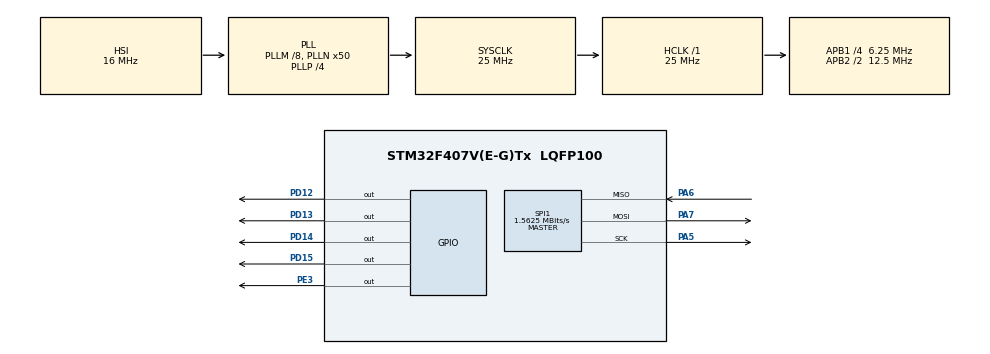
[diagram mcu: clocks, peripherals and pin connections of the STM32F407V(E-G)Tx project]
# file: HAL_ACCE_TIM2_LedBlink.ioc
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Mcu.Family=STM32F4
Mcu.Name=STM32F407V(E-G)Tx
Mcu.Package=LQFP100
NVIC.PriorityGroup=NVIC_PRIORITYGROUP_0
NVIC.TIM2_IRQn=true\:0\:0\:false\:false\:true\:true\:true\:true
PA5.Mode=Full_Duplex_Master
PA5.Signal=SPI1_SCK
PA6.Mode=Full_Duplex_Master
PA6.Signal=SPI1_MISO
PA7.Mode=Full_Duplex_Master
PA7.Signal=SPI1_MOSI
PD12.Signal=GPIO_Output
PD13.Signal=GPIO_Output
PD14.Signal=GPIO_Output
PD15.Signal=GPIO_Output
PE3.Signal=GPIO_Output
ProjectManager.HeapSize=0x200
ProjectManager.StackSize=0x400
ProjectManager.TargetToolchain=STM32CubeIDE
RCC.48MHZClocksFreq_Value=14285714.285714285
RCC.AHBFreq_Value=25000000
RCC.APB1CLKDivider=RCC_HCLK_DIV4
RCC.APB1Freq_Value=6250000
RCC.APB1TimFreq_Value=12500000
RCC.APB2CLKDivider=RCC_HCLK_DIV2
RCC.APB2Freq_Value=12500000
RCC.APB2TimFreq_Value=25000000
RCC.CortexFreq_Value=25000000
RCC.HCLKFreq_Value=25000000
RCC.HSE_VALUE=8000000
RCC.HSI_VALUE=16000000
RCC.LSE_VALUE=32768
RCC.PLLM=8
RCC.PLLN=50
RCC.PLLP=RCC_PLLP_DIV4
RCC.PLLQ=7
RCC.SYSCLKFreq_VALUE=25000000
RCC.SYSCLKSource=RCC_SYSCLKSOURCE_PLLCLK
RCC.VCOOutputFreq_Value=100000000
SPI1.BaudRatePrescaler=SPI_BAUDRATEPRESCALER_8
SPI1.CalculateBaudRate=1.5625 MBits/s
SPI1.Direction=SPI_DIRECTION_2LINES
SPI1.Mode=SPI_MODE_MASTER
SPI1.VirtualType=VM_MASTER
TIM2.Period=999
TIM2.Prescaler=12499
TIM2.TIM_MasterOutputTrigger=TIM_TRGO_UPDATE
VP_TIM2_VS_ClockSourceINT.Mode=Internal
board=STM32F407G-DISC1

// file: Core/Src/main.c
/* USER CODE BEGIN Header */
/**
  ******************************************************************************
  * @file           : main.c
  * @brief          : Main program body
  ******************************************************************************
  * @attention
  *
  * Copyright (c) 2026 STMicroelectronics.
  * All rights reserved.
  *
  * This software is licensed under terms that can be found in the LICENSE file
  * in the root directory of this software component.
  * If no LICENSE file comes with this software, it is provided AS-IS.
  *
  ******************************************************************************
  */
/* USER CODE END Header */
#include "main.h"

/* USER CODE BEGIN Includes */
#include<lis3dsh.h>
#include<math.h>
#include<stdlib.h>

/* USER CODE END Includes */

SPI_HandleTypeDef hspi1;

TIM_HandleTypeDef htim2;

/* USER CODE BEGIN PV */
AccelRead_t val;
/* USER CODE END PV */

void SystemClock_Config(void);
static void MX_GPIO_Init(void);
static void MX_SPI1_Init(void);
static void MX_TIM2_Init(void);

/* USER CODE BEGIN 0 */
void HAL_TIM_PeriodElapsedCallback(TIM_HandleTypeDef *htim)
{
	val = accel_get_xyz();

}
/* USER CODE END 0 */

int main(void)
{

  /* MCU Configuration--------------------------------------------------------*/

  /* Reset of all peripherals, Initializes the Flash interface and the Systick. */
  HAL_Init();

  /* Configure the system clock */
  SystemClock_Config();

  /* Initialize all configured peripherals */
  MX_GPIO_Init();
  MX_SPI1_Init();
  MX_TIM2_Init();
  /* USER CODE BEGIN 2 */
  HAL_TIM_Base_Start_IT(&htim2);
  accel_init();
  /* USER CODE END 2 */

  /* Infinite loop */
  /* USER CODE BEGIN WHILE */
  while (1)
  {
	  //HAL_GPIO_WritePin(GPIOD, GPIO_PIN_12, GPIO_PIN_RESET);
	  //HAL_GPIO_WritePin(GPIOD, GPIO_PIN_13, GPIO_PIN_RESET);

	  //HAL_GPIO_WritePin(GPIOD, GPIO_PIN_15, GPIO_PIN_RESET);
	  if(val.x >= 500)
	  {
		  HAL_GPIO_TogglePin(GPIOD, GPIO_PIN_14);
		  HAL_Delay(409600 / val.x);
	  }
	  else
	  {
		  HAL_GPIO_WritePin(GPIOD, GPIO_PIN_14, GPIO_PIN_RESET);
	  }
	  if(val.x < 500)
	  {
		  uint16_t temp = abs(val.x);
		  HAL_GPIO_TogglePin(GPIOD, GPIO_PIN_12);
		  HAL_Delay(409600 / temp);
	  }
	  else
	  {
		  HAL_GPIO_WritePin(GPIOD, GPIO_PIN_12, GPIO_PIN_RESET);
	  }

	  if(val.y >= 500)
	  {
		  HAL_GPIO_TogglePin(GPIOD, GPIO_PIN_13);
		  HAL_Delay(409600 / val.y);
	  }
	  else
	  {
		  HAL_GPIO_WritePin(GPIOD, GPIO_PIN_13, GPIO_PIN_RESET);
	  }
	  if(val.y < 500)
	  {
		  uint16_t temp = abs(val.y);
		  HAL_GPIO_TogglePin(GPIOD, GPIO_PIN_15);
		  HAL_Delay(409600 / temp);
	  }
	  else
	  {
		  HAL_GPIO_WritePin(GPIOD, GPIO_PIN_15, GPIO_PIN_RESET);
	  }
    /* USER CODE END WHILE */

  }
}

void SystemClock_Config(void)
{
  RCC_OscInitTypeDef RCC_OscInitStruct = {0};
  RCC_ClkInitTypeDef RCC_ClkInitStruct = {0};

  /** Configure the main internal regulator output voltage
  */
  __HAL_RCC_PWR_CLK_ENABLE();
  __HAL_PWR_VOLTAGESCALING_CONFIG(PWR_REGULATOR_VOLTAGE_SCALE1);

  /** Initializes the RCC Oscillators according to the specified parameters
  * in the RCC_OscInitTypeDef structure.
  */
  RCC_OscInitStruct.OscillatorType = RCC_OSCILLATORTYPE_HSI;
  RCC_OscInitStruct.HSIState = RCC_HSI_ON;
  RCC_OscInitStruct.HSICalibrationValue = RCC_HSICALIBRATION_DEFAULT;
  RCC_OscInitStruct.PLL.PLLState = RCC_PLL_ON;
  RCC_OscInitStruct.PLL.PLLSource = RCC_PLLSOURCE_HSI;
  RCC_OscInitStruct.PLL.PLLM = 8;
  RCC_OscInitStruct.PLL.PLLN = 50;
  RCC_OscInitStruct.PLL.PLLP = RCC_PLLP_DIV4;
  RCC_OscInitStruct.PLL.PLLQ = 7;
  if (HAL_RCC_OscConfig(&RCC_OscInitStruct) != HAL_OK)
  {
    Error_Handler();
  }

  /** Initializes the CPU, AHB and APB buses clocks
  */
  RCC_ClkInitStruct.ClockType = RCC_CLOCKTYPE_HCLK|RCC_CLOCKTYPE_SYSCLK
                              |RCC_CLOCKTYPE_PCLK1|RCC_CLOCKTYPE_PCLK2;
  RCC_ClkInitStruct.SYSCLKSource = RCC_SYSCLKSOURCE_PLLCLK;
  RCC_ClkInitStruct.AHBCLKDivider = RCC_SYSCLK_DIV1;
  RCC_ClkInitStruct.APB1CLKDivider = RCC_HCLK_DIV4;
  RCC_ClkInitStruct.APB2CLKDivider = RCC_HCLK_DIV2;

  if (HAL_RCC_ClockConfig(&RCC_ClkInitStruct, FLASH_LATENCY_0) != HAL_OK)
  {
    Error_Handler();
  }
}

static void MX_SPI1_Init(void)
{

  /* SPI1 parameter configuration*/
  hspi1.Instance = SPI1;
  hspi1.Init.Mode = SPI_MODE_MASTER;
  hspi1.Init.Direction = SPI_DIRECTION_2LINES;
  hspi1.Init.DataSize = SPI_DATASIZE_8BIT;
  hspi1.Init.CLKPolarity = SPI_POLARITY_LOW;
  hspi1.Init.CLKPhase = SPI_PHASE_1EDGE;
  hspi1.Init.NSS = SPI_NSS_SOFT;
  hspi1.Init.BaudRatePrescaler = SPI_BAUDRATEPRESCALER_8;
  hspi1.Init.FirstBit = SPI_FIRSTBIT_MSB;
  hspi1.Init.TIMode = SPI_TIMODE_DISABLE;
  hspi1.Init.CRCCalculation = SPI_CRCCALCULATION_DISABLE;
  hspi1.Init.CRCPolynomial = 10;
  if (HAL_SPI_Init(&hspi1) != HAL_OK)
  {
    Error_Handler();
  }

}

static void MX_TIM2_Init(void)
{

  TIM_ClockConfigTypeDef sClockSourceConfig = {0};
  TIM_MasterConfigTypeDef sMasterConfig = {0};

  htim2.Instance = TIM2;
  htim2.Init.Prescaler = 12499;
  htim2.Init.CounterMode = TIM_COUNTERMODE_UP;
  htim2.Init.Period = 999;
  htim2.Init.ClockDivision = TIM_CLOCKDIVISION_DIV1;
  htim2.Init.AutoReloadPreload = TIM_AUTORELOAD_PRELOAD_DISABLE;
  if (HAL_TIM_Base_Init(&htim2) != HAL_OK)
  {
    Error_Handler();
  }
  sClockSourceConfig.ClockSource = TIM_CLOCKSOURCE_INTERNAL;
  if (HAL_TIM_ConfigClockSource(&htim2, &sClockSourceConfig) != HAL_OK)
  {
    Error_Handler();
  }
  sMasterConfig.MasterOutputTrigger = TIM_TRGO_UPDATE;
  sMasterConfig.MasterSlaveMode = TIM_MASTERSLAVEMODE_DISABLE;
  if (HAL_TIMEx_MasterConfigSynchronization(&htim2, &sMasterConfig) != HAL_OK)
  {
    Error_Handler();
  }

}

static void MX_GPIO_Init(void)
{
  GPIO_InitTypeDef GPIO_InitStruct = {0};

  /* GPIO Ports Clock Enable */
  __HAL_RCC_GPIOE_CLK_ENABLE();
  __HAL_RCC_GPIOA_CLK_ENABLE();
  __HAL_RCC_GPIOD_CLK_ENABLE();

  /*Configure GPIO pin Output Level */
  HAL_GPIO_WritePin(GPIOE, GPIO_PIN_3, GPIO_PIN_RESET);

  /*Configure GPIO pin Output Level */
  HAL_GPIO_WritePin(GPIOD, GPIO_PIN_12|GPIO_PIN_13|GPIO_PIN_14|GPIO_PIN_15, GPIO_PIN_RESET);

  /*Configure GPIO pin : PE3 */
  GPIO_InitStruct.Pin = GPIO_PIN_3;
  GPIO_InitStruct.Mode = GPIO_MODE_OUTPUT_PP;
  GPIO_InitStruct.Pull = GPIO_NOPULL;
  GPIO_InitStruct.Speed = GPIO_SPEED_FREQ_LOW;
  HAL_GPIO_Init(GPIOE, &GPIO_InitStruct);

  /*Configure GPIO pins : PD12 PD13 PD14 PD15 */
  GPIO_InitStruct.Pin = GPIO_PIN_12|GPIO_PIN_13|GPIO_PIN_14|GPIO_PIN_15;
  GPIO_InitStruct.Mode = GPIO_MODE_OUTPUT_PP;
  GPIO_InitStruct.Pull = GPIO_NOPULL;
  GPIO_InitStruct.Speed = GPIO_SPEED_FREQ_LOW;
  HAL_GPIO_Init(GPIOD, &GPIO_InitStruct);

}

void Error_Handler(void)
{
  __disable_irq();
  while (1)
  {
  }
}
